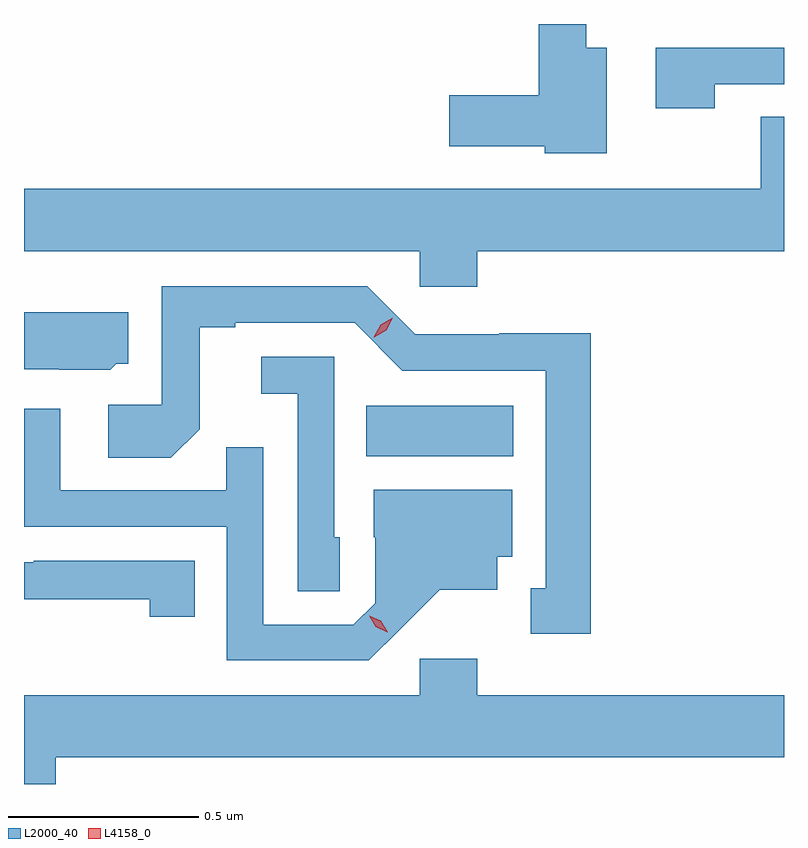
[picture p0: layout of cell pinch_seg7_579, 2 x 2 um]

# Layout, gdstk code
import gdstk
lib = gdstk.Library(unit=1e-6, precision=1e-09)
def R(c, l, rs):  # rectangles x0, y0, x1, y1
    for r in rs: c.add(gdstk.rectangle(r[:2], r[2:], *l))
def P(c, l, *ps):  # polygons
    for p in ps: c.add(gdstk.Polygon(p, *l))
L2000_40 = (2000, 40)
L4158_0 = (4158, 0)

pinch_seg7_579 = lib.new_cell('pinch_seg7_579')
R(pinch_seg7_579, L2000_40, [(162.232,1042.7,162.619,1042.834)])
P(pinch_seg7_579, L2000_40, [(162.865,1043.776),(162.811,1043.776),(162.811,1043.838),(162.686,1043.838),(162.686,1043.651),(162.45,1043.651),(162.45,1043.516),(162.702,1043.516),(162.702,1043.498),(162.865,1043.498)],
  [(163.149,1043.679),(163.331,1043.679),(163.331,1043.775),(162.993,1043.775),(162.993,1043.616),(163.149,1043.616)],
  [(162.524,1043.24),(163.331,1043.24),(163.331,1043.594),(163.27,1043.594),(163.27,1043.404),(161.331,1043.404),(161.331,1043.24),(162.372,1043.24),(162.372,1043.147),(162.524,1043.147)],
  [(162.823,1043.024),(162.582,1043.024),(162.582,1043.022),(162.36,1043.022),(162.234,1043.148),(161.694,1043.148),(161.694,1042.836),(161.553,1042.836),(161.553,1042.696),(161.717,1042.696),(161.793,1042.772),(161.793,1043.04),(161.887,1043.04),(161.887,1043.052),(162.201,1043.052),(162.327,1042.926),(162.704,1042.926),(162.704,1042.353),(162.665,1042.353),(162.665,1042.233),(162.823,1042.233)],
  [(161.574,1042.944),(161.605,1042.944),(161.605,1043.08),(161.331,1043.08),(161.331,1042.929),(161.424,1042.929),(161.424,1042.928),(161.558,1042.928)],
  [(162.162,1042.488),(162.147,1042.488),(162.147,1042.962),(161.955,1042.962),(161.955,1042.865),(162.051,1042.865),(162.051,1042.345),(162.162,1042.345)],
  [(162.322,1042.247),(162.425,1042.349),(162.577,1042.349),(162.577,1042.436),(162.616,1042.436),(162.616,1042.612),(162.251,1042.612),(162.251,1042.488),(162.255,1042.488),(162.255,1042.314),(162.198,1042.257),(161.961,1042.257),(161.961,1042.724),(161.863,1042.724),(161.863,1042.611),(161.427,1042.611),(161.427,1042.825),(161.331,1042.825),(161.331,1042.515),(161.865,1042.515),(161.865,1042.164),(162.238,1042.164)],
  [(161.78,1042.425),(161.356,1042.425),(161.356,1042.422),(161.331,1042.422),(161.331,1042.324),(161.662,1042.324),(161.662,1042.278),(161.78,1042.278)],
  [(161.414,1041.908),(163.331,1041.908),(163.331,1042.072),(162.524,1042.072),(162.524,1042.168),(162.372,1042.168),(162.372,1042.072),(161.331,1042.072),(161.331,1041.838),(161.414,1041.838)])
P(pinch_seg7_579, L4158_0, [(162.252,1043.014),(162.252,1043.014),(162.27,1043.046),(162.302,1043.065),(162.302,1043.065),(162.302,1043.065),(162.284,1043.032),(162.253,1043.014)],
  [(162.287,1042.237),(162.257,1042.252),(162.239,1042.281),(162.239,1042.281),(162.239,1042.281),(162.27,1042.267),(162.288,1042.237),(162.288,1042.237)])

lib.write_gds('pinch_seg7_579.gds')
